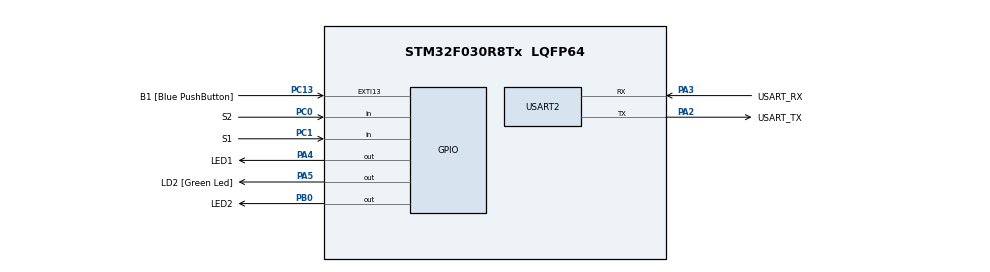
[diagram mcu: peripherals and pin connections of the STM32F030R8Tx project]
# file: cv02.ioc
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Mcu.Family=STM32F0
Mcu.Name=STM32F030R8Tx
Mcu.Package=LQFP64
PA13.GPIO_Label=TMS
PA13.Mode=Serial_Wire
PA13.Signal=SYS_SWDIO
PA14.GPIO_Label=TCK
PA14.Mode=Serial_Wire
PA14.Signal=SYS_SWCLK
PA2.GPIO_Label=USART_TX
PA2.GPIO_Mode=GPIO_MODE_AF_PP
PA2.GPIO_PuPd=GPIO_NOPULL
PA2.GPIO_Speed=GPIO_SPEED_FREQ_LOW
PA2.Mode=Asynchronous
PA2.Signal=USART2_TX
PA3.GPIO_Label=USART_RX
PA3.GPIO_Mode=GPIO_MODE_AF_PP
PA3.GPIO_PuPd=GPIO_NOPULL
PA3.GPIO_Speed=GPIO_SPEED_FREQ_LOW
PA3.Mode=Asynchronous
PA3.Signal=USART2_RX
PA4.GPIO_Label=LED1
PA4.Signal=GPIO_Output
PA5.GPIO_Label=LD2 [Green Led]
PA5.GPIO_Mode=GPIO_MODE_OUTPUT_PP
PA5.GPIO_PuPd=GPIO_NOPULL
PA5.GPIO_Speed=GPIO_SPEED_FREQ_LOW
PA5.Signal=GPIO_Output
PB0.GPIO_Label=LED2
PB0.Signal=GPIO_Output
PC0.GPIO_Label=S2
PC0.GPIO_PuPd=GPIO_PULLUP
PC0.Signal=GPIO_Input
PC1.GPIO_Label=S1
PC1.GPIO_PuPd=GPIO_PULLUP
PC1.Signal=GPIO_Input
PC13.GPIO_Label=B1 [Blue PushButton]
PC13.GPIO_ModeDefaultEXTI=GPIO_MODE_IT_FALLING
PC13.Signal=GPXTI13
PC14-OSC32_IN.Mode=LSE-External-Oscillator
PC14-OSC32_IN.Signal=RCC_OSC32_IN
PC15-OSC32_OUT.Mode=LSE-External-Oscillator
PC15-OSC32_OUT.Signal=RCC_OSC32_OUT
PF0-OSC_IN.Mode=HSE-External-Clock-Source
PF0-OSC_IN.Signal=RCC_OSC_IN
PF1-OSC_OUT.Signal=RCC_OSC_OUT
ProjectManager.HeapSize=0x200
ProjectManager.StackSize=0x400
ProjectManager.TargetToolchain=STM32CubeIDE
RCC.AHBFreq_Value=48000000
RCC.APB1Freq_Value=48000000
RCC.APB1TimFreq_Value=48000000
RCC.HCLKFreq_Value=48000000
RCC.PLLMUL=RCC_PLL_MUL12
RCC.SYSCLKFreq_VALUE=48000000
RCC.SYSCLKSource=RCC_SYSCLKSOURCE_PLLCLK
USART2.VirtualMode-Asynchronous=VM_ASYNC
board=NUCLEO-F030R8

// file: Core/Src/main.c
/* USER CODE BEGIN Header */
/**
  ******************************************************************************
  * @file           : main.c
  * @brief          : Main program body
  ******************************************************************************
  * @attention
  *
  * Copyright (c) 2024 STMicroelectronics.
  * All rights reserved.
  *
  * This software is licensed under terms that can be found in the LICENSE file
  * in the root directory of this software component.
  * If no LICENSE file comes with this software, it is provided AS-IS.
  *
  ******************************************************************************
  */
/* USER CODE END Header */
#include "main.h"

/* USER CODE BEGIN PD */
#define LED_TIME_BLINK 300
#define LED_TIME_SHORT 100
#define LED_TIME_LONG 1000
#define BTT_TIME_ON    40
/* USER CODE END PD */

/* USER CODE BEGIN PV */
volatile uint32_t Tick;
/* USER CODE END PV */

void SystemClock_Config(void);
static void MX_GPIO_Init(void);
static void MX_USART2_UART_Init(void);
/* USER CODE BEGIN PFP */
void blink(void);
void button(void);
/* USER CODE END PFP */

/* USER CODE BEGIN 0 */
void blink(void){

	static uint32_t delay;

	if(Tick > delay + LED_TIME_BLINK){
		LL_GPIO_TogglePin(LED1_GPIO_Port, LED1_Pin);
		delay = Tick;
	}
}

void button(void){

	static uint32_t delay;
	static uint32_t old_s1;
	static uint32_t old_s2;
	static uint32_t off_time;

	if(Tick > delay + BTT_TIME_ON){
		uint32_t new_s2 = LL_GPIO_IsInputPinSet(S2_GPIO_Port, S2_Pin);

		if (old_s2 && !new_s2) { // falling edge
			off_time = Tick + LED_TIME_SHORT;
			LL_GPIO_SetOutputPin(LED2_GPIO_Port, LED2_Pin);
		}
		delay = Tick;
		old_s2 = new_s2;
	}

	if(Tick > delay + BTT_TIME_ON){
		uint32_t new_s1 = LL_GPIO_IsInputPinSet(S1_GPIO_Port, S1_Pin);

		if (old_s1 && !new_s1) { // falling edge
			off_time = Tick + LED_TIME_LONG;
			LL_GPIO_SetOutputPin(LED2_GPIO_Port, LED2_Pin);
		}
		delay = Tick;
		old_s1 = new_s1;
	}

	if (Tick > off_time) {
		LL_GPIO_ResetOutputPin(LED2_GPIO_Port, LED2_Pin);
	}

}
/* USER CODE END 0 */

int main(void)
{

  /* MCU Configuration--------------------------------------------------------*/

  /* Reset of all peripherals, Initializes the Flash interface and the Systick. */
  LL_APB1_GRP2_EnableClock(LL_APB1_GRP2_PERIPH_SYSCFG);
  LL_APB1_GRP1_EnableClock(LL_APB1_GRP1_PERIPH_PWR);

  /* Configure the system clock */
  SystemClock_Config();

  /* Initialize all configured peripherals */
  MX_GPIO_Init();
  MX_USART2_UART_Init();
  /* USER CODE BEGIN 2 */
  LL_SYSTICK_EnableIT();

  /* USER CODE END 2 */

  /* Infinite loop */
  while (1)
  {
	  blink();
	  button();
  }
}

void SystemClock_Config(void)
{
  LL_FLASH_SetLatency(LL_FLASH_LATENCY_1);
  while(LL_FLASH_GetLatency() != LL_FLASH_LATENCY_1)
  {
  }
  LL_RCC_HSI_Enable();

   /* Wait till HSI is ready */
  while(LL_RCC_HSI_IsReady() != 1)
  {

  }
  LL_RCC_HSI_SetCalibTrimming(16);
  LL_RCC_PLL_ConfigDomain_SYS(LL_RCC_PLLSOURCE_HSI_DIV_2, LL_RCC_PLL_MUL_12);
  LL_RCC_PLL_Enable();

   /* Wait till PLL is ready */
  while(LL_RCC_PLL_IsReady() != 1)
  {

  }
  LL_RCC_SetAHBPrescaler(LL_RCC_SYSCLK_DIV_1);
  LL_RCC_SetAPB1Prescaler(LL_RCC_APB1_DIV_1);
  LL_RCC_SetSysClkSource(LL_RCC_SYS_CLKSOURCE_PLL);

   /* Wait till System clock is ready */
  while(LL_RCC_GetSysClkSource() != LL_RCC_SYS_CLKSOURCE_STATUS_PLL)
  {

  }
  LL_Init1msTick(48000000);
  LL_SetSystemCoreClock(48000000);
}

static void MX_USART2_UART_Init(void)
{

  LL_USART_InitTypeDef USART_InitStruct = {0};

  LL_GPIO_InitTypeDef GPIO_InitStruct = {0};

  /* Peripheral clock enable */
  LL_APB1_GRP1_EnableClock(LL_APB1_GRP1_PERIPH_USART2);

  LL_AHB1_GRP1_EnableClock(LL_AHB1_GRP1_PERIPH_GPIOA);
  /**USART2 GPIO Configuration
  PA2   ------> USART2_TX
  PA3   ------> USART2_RX
  */
  GPIO_InitStruct.Pin = USART_TX_Pin;
  GPIO_InitStruct.Mode = LL_GPIO_MODE_ALTERNATE;
  GPIO_InitStruct.Speed = LL_GPIO_SPEED_FREQ_LOW;
  GPIO_InitStruct.OutputType = LL_GPIO_OUTPUT_PUSHPULL;
  GPIO_InitStruct.Pull = LL_GPIO_PULL_NO;
  GPIO_InitStruct.Alternate = LL_GPIO_AF_1;
  LL_GPIO_Init(USART_TX_GPIO_Port, &GPIO_InitStruct);

  GPIO_InitStruct.Pin = USART_RX_Pin;
  GPIO_InitStruct.Mode = LL_GPIO_MODE_ALTERNATE;
  GPIO_InitStruct.Speed = LL_GPIO_SPEED_FREQ_LOW;
  GPIO_InitStruct.OutputType = LL_GPIO_OUTPUT_PUSHPULL;
  GPIO_InitStruct.Pull = LL_GPIO_PULL_NO;
  GPIO_InitStruct.Alternate = LL_GPIO_AF_1;
  LL_GPIO_Init(USART_RX_GPIO_Port, &GPIO_InitStruct);

  USART_InitStruct.BaudRate = 38400;
  USART_InitStruct.DataWidth = LL_USART_DATAWIDTH_8B;
  USART_InitStruct.StopBits = LL_USART_STOPBITS_1;
  USART_InitStruct.Parity = LL_USART_PARITY_NONE;
  USART_InitStruct.TransferDirection = LL_USART_DIRECTION_TX_RX;
  USART_InitStruct.HardwareFlowControl = LL_USART_HWCONTROL_NONE;
  USART_InitStruct.OverSampling = LL_USART_OVERSAMPLING_16;
  LL_USART_Init(USART2, &USART_InitStruct);
  LL_USART_DisableIT_CTS(USART2);
  LL_USART_ConfigAsyncMode(USART2);
  LL_USART_Enable(USART2);

}

static void MX_GPIO_Init(void)
{
  LL_EXTI_InitTypeDef EXTI_InitStruct = {0};
  LL_GPIO_InitTypeDef GPIO_InitStruct = {0};

  /* GPIO Ports Clock Enable */
  LL_AHB1_GRP1_EnableClock(LL_AHB1_GRP1_PERIPH_GPIOC);
  LL_AHB1_GRP1_EnableClock(LL_AHB1_GRP1_PERIPH_GPIOF);
  LL_AHB1_GRP1_EnableClock(LL_AHB1_GRP1_PERIPH_GPIOA);
  LL_AHB1_GRP1_EnableClock(LL_AHB1_GRP1_PERIPH_GPIOB);

  /**/
  LL_GPIO_ResetOutputPin(LED1_GPIO_Port, LED1_Pin);

  /**/
  LL_GPIO_ResetOutputPin(LD2_GPIO_Port, LD2_Pin);

  /**/
  LL_GPIO_ResetOutputPin(LED2_GPIO_Port, LED2_Pin);

  /**/
  LL_SYSCFG_SetEXTISource(LL_SYSCFG_EXTI_PORTC, LL_SYSCFG_EXTI_LINE13);

  /**/
  LL_GPIO_SetPinPull(B1_GPIO_Port, B1_Pin, LL_GPIO_PULL_NO);

  /**/
  LL_GPIO_SetPinMode(B1_GPIO_Port, B1_Pin, LL_GPIO_MODE_INPUT);

  /**/
  EXTI_InitStruct.Line_0_31 = LL_EXTI_LINE_13;
  EXTI_InitStruct.LineCommand = ENABLE;
  EXTI_InitStruct.Mode = LL_EXTI_MODE_IT;
  EXTI_InitStruct.Trigger = LL_EXTI_TRIGGER_FALLING;
  LL_EXTI_Init(&EXTI_InitStruct);

  /**/
  GPIO_InitStruct.Pin = S2_Pin;
  GPIO_InitStruct.Mode = LL_GPIO_MODE_INPUT;
  GPIO_InitStruct.Pull = LL_GPIO_PULL_UP;
  LL_GPIO_Init(S2_GPIO_Port, &GPIO_InitStruct);

  /**/
  GPIO_InitStruct.Pin = S1_Pin;
  GPIO_InitStruct.Mode = LL_GPIO_MODE_INPUT;
  GPIO_InitStruct.Pull = LL_GPIO_PULL_UP;
  LL_GPIO_Init(S1_GPIO_Port, &GPIO_InitStruct);

  /**/
  GPIO_InitStruct.Pin = LED1_Pin;
  GPIO_InitStruct.Mode = LL_GPIO_MODE_OUTPUT;
  GPIO_InitStruct.Speed = LL_GPIO_SPEED_FREQ_LOW;
  GPIO_InitStruct.OutputType = LL_GPIO_OUTPUT_PUSHPULL;
  GPIO_InitStruct.Pull = LL_GPIO_PULL_NO;
  LL_GPIO_Init(LED1_GPIO_Port, &GPIO_InitStruct);

  /**/
  GPIO_InitStruct.Pin = LD2_Pin;
  GPIO_InitStruct.Mode = LL_GPIO_MODE_OUTPUT;
  GPIO_InitStruct.Speed = LL_GPIO_SPEED_FREQ_LOW;
  GPIO_InitStruct.OutputType = LL_GPIO_OUTPUT_PUSHPULL;
  GPIO_InitStruct.Pull = LL_GPIO_PULL_NO;
  LL_GPIO_Init(LD2_GPIO_Port, &GPIO_InitStruct);

  /**/
  GPIO_InitStruct.Pin = LED2_Pin;
  GPIO_InitStruct.Mode = LL_GPIO_MODE_OUTPUT;
  GPIO_InitStruct.Speed = LL_GPIO_SPEED_FREQ_LOW;
  GPIO_InitStruct.OutputType = LL_GPIO_OUTPUT_PUSHPULL;
  GPIO_InitStruct.Pull = LL_GPIO_PULL_NO;
  LL_GPIO_Init(LED2_GPIO_Port, &GPIO_InitStruct);

}

void Error_Handler(void)
{
  __disable_irq();
  while (1)
  {
  }
}
